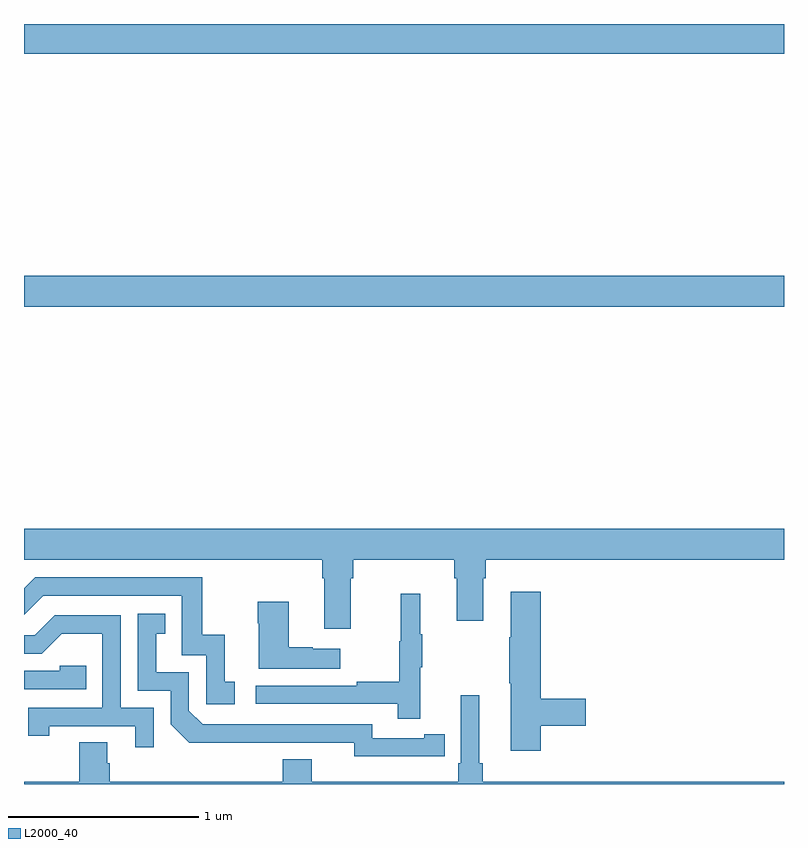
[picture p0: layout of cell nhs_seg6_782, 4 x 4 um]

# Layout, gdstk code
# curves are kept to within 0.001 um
import gdstk
lib = gdstk.Library(unit=1e-6, precision=1e-09)
def R(c, l, rs):  # rectangles x0, y0, x1, y1
    for r in rs: c.add(gdstk.rectangle(r[:2], r[2:], *l))
def P(c, l, *ps):  # polygons
    for p in ps: c.add(gdstk.Polygon(p, *l))
L2000_40 = (2000, 40)

nhs_seg6_782 = lib.new_cell('nhs_seg6_782')
R(nhs_seg6_782, L2000_40, [(161,938.012,165,938.176), (161,939.344,165,939.5)])
P(nhs_seg6_782, L2000_40, [(161,936.68),(162.569,936.68),(162.569,936.584),(162.581,936.584),(162.581,936.318),(162.721,936.318),(162.721,936.584),(162.734,936.584),(162.734,936.68),(163.265,936.68),(163.265,936.584),(163.277,936.584),(163.277,936.36),(163.417,936.36),(163.417,936.584),(163.43,936.584),(163.43,936.68),(165,936.68),(165,936.844),(161,936.844)],
  [(162.109,936.039),(162.056,936.039),(162.056,936.286),(161.938,936.286),(161.938,936.588),(161.058,936.588),(161,936.53),(161,936.392),(161.1,936.492),(161.829,936.492),(161.829,936.177),(161.958,936.177),(161.958,935.919),(162.109,935.919)],
  [(163.721,935.806),(163.957,935.806),(163.957,935.948),(163.721,935.948),(163.721,936.511),(163.562,936.511),(163.562,936.272),(163.555,936.272),(163.555,936.031),(163.562,936.031),(163.562,935.676),(163.721,935.676)],
  [(163.085,936.115),(163.096,936.115),(163.096,936.289),(163.085,936.289),(163.085,936.502),(162.982,936.502),(162.982,936.252),(162.975,936.252),(162.975,936.038),(162.751,936.038),(162.751,936.018),(162.219,936.018),(162.219,935.922),(162.967,935.922),(162.967,935.844),(163.085,935.844)],
  [(162.664,936.211),(162.521,936.211),(162.521,936.221),(162.394,936.221),(162.394,936.46),(162.229,936.46),(162.229,936.347),(162.236,936.347),(162.236,936.107),(162.664,936.107)],
  [(163.106,935.646),(163.214,935.646),(163.214,935.762),(163.106,935.762),(163.106,935.742),(162.834,935.742),(162.834,935.814),(161.94,935.814),(161.868,935.886),(161.868,936.087),(161.695,936.087),(161.695,936.291),(161.744,936.291),(161.744,936.397),(161.598,936.397),(161.598,935.991),(161.772,935.991),(161.772,935.814),(161.87,935.717),(162.738,935.718),(162.738,935.645)],
  [(161.682,935.901),(161.508,935.901),(161.508,936.387),(161.162,936.387),(161.057,936.282),(161,936.282),(161,936.186),(161.094,936.186),(161.198,936.29),(161.412,936.29),(161.412,935.901),(161.023,935.901),(161.023,935.754),(161.134,935.754),(161.134,935.805),(161.585,935.805),(161.585,935.694),(161.682,935.694)],
  [(161.327,936.123),(161.187,936.123),(161.187,936.096),(161,936.096),(161,936),(161.327,936)],
  [(165,935.512),(163.415,935.512),(163.415,935.608),(163.396,935.608),(163.396,935.968),(163.299,935.968),(163.299,935.608),(163.286,935.608),(163.286,935.512),(162.514,935.512),(162.514,935.629),(162.362,935.629),(162.362,935.512),(161.45,935.512),(161.45,935.61),(161.437,935.61),(161.437,935.72),(161.29,935.72),(161.29,935.512),(161,935.512),(161,935.5),(165,935.5)])

lib.write_gds('nhs_seg6_782.gds')
